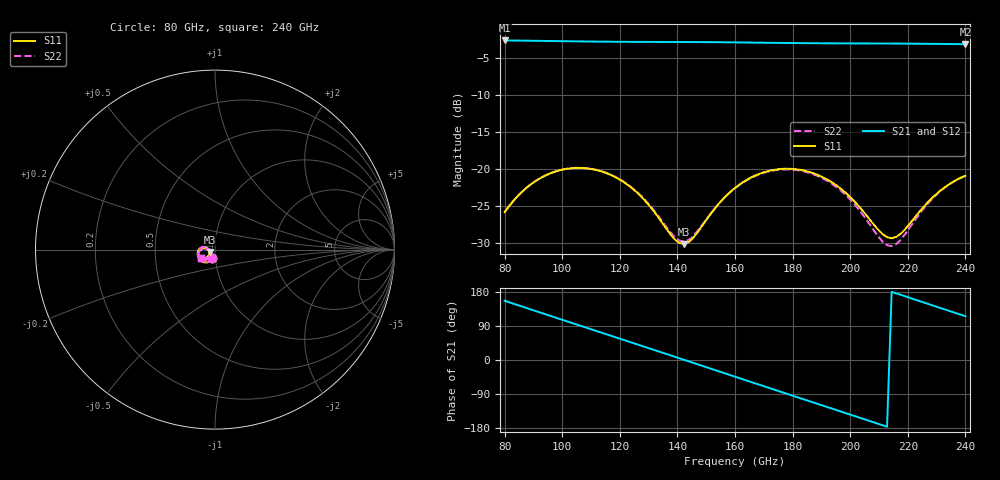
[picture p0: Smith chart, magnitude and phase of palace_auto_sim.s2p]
#  GHZ S DB R 50
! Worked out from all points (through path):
!   101 points, 80 GHz to 240 GHz, reference 50 ohm
!   highest |S21| = -2.57 dB at 80 GHz (marker M1); lowest = -3.1 dB at 240 GHz (marker M2)
!   group delay of S21, straight-line fit = 6.96 ps
!   lowest |S11| = -30.2 dB at 142.4 GHz (marker M3), VSWR 1.06, Z = 47.3 - j1.27 ohm
!   |S11| at or under -10 dB: start of sweep to end of sweep
!   |S22| runs from -30.5 to -19.9 dB; largest |S21 - S12| = 1.3e-13
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80  -25.88 -110.4  -2.57 156.3  -2.57 156.3  -25.87 -110.7
86.4  -22.99 -114.5  -2.60 140.2  -2.60 140.2  -22.98 -114.7
94.4  -20.86 -127.4  -2.64 120.1  -2.64 120.1  -20.85 -127.5
107.2  -19.89 -152.3  -2.71 88.2  -2.71 88.2  -19.87 -152.3
120  -21.46 -175.7  -2.75 56.3  -2.75 56.3  -21.42 -175.5
128  -24.00 174.5  -2.77 36.3  -2.77 36.3  -23.90 174.8
134.4  -27.14 175.5  -2.78 20.3  -2.78 20.3  -26.95 175.7
139.2  -29.62 -170.8  -2.78 8.3  -2.78 8.3  -29.30 -171.3
142.4  -30.20 -154.2  -2.79 0.2  -2.79 0.2  -29.88 -155.7
150.4  -26.73 -127.1  -2.80 -19.9  -2.80 -19.9  -26.66 -129.4
160  -22.59 -130.6  -2.84 -44.0  -2.84 -44.0  -22.62 -132.5
168  -20.75 -142.5  -2.87 -64.1  -2.87 -64.1  -20.81 -144.3
174.4  -20.08 -153.6  -2.90 -80.1  -2.90 -80.1  -20.16 -155.4
187.2  -20.60 -176.1  -2.95 -112.1  -2.95 -112.1  -20.73 -178.2
195.2  -22.24 172.3  -2.97 -132.1  -2.97 -132.1  -22.47 169.7
201.6  -24.47 167.3  -2.98 -148.1  -2.98 -148.1  -24.85 164.2
211.2  -28.85 -178.2  -2.99 -172.1  -2.99 -172.1  -29.86 -179.6
214.4  -29.41 -164.0  -2.99 179.8  -2.99 179.8  -30.50 -162.6
217.6  -28.78 -150.0  -3.00 171.8  -3.00 171.8  -29.61 -146.3
225.6  -25.12 -136.2  -3.02 151.6  -3.02 151.6  -25.35 -132.5
232  -22.74 -139.6  -3.05 135.5  -3.05 135.5  -22.82 -136.8
240  -20.94 -150.2  -3.09 115.5  -3.09 115.5  -20.95 -148.0
